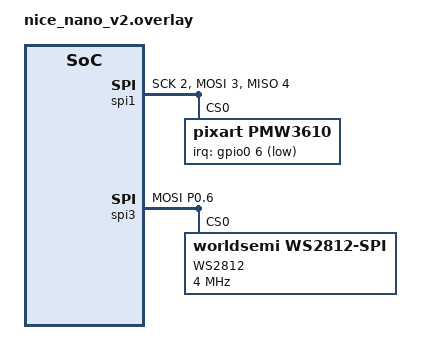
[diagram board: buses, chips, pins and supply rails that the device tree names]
#include <dt-bindings/led/led.h>

&pinctrl {
	spi3_default: spi3_default {
		group1 {
			psels = <NRF_PSEL(SPIM_MOSI, 0, 6)>;
		};
	};

	spi3_sleep: spi3_sleep {
		group1 {
			psels = <NRF_PSEL(SPIM_MOSI, 0, 6)>;
			low-power-enable;
		};
	};
};

&spi1 {
    compatible = "nordic,nrf-spim";
    status = "okay";
    sck-pin = <2>;
    mosi-pin = <3>;
    miso-pin = <4>;

    pmw3610: pmw3610@0 {
        compatible = "pixart,pmw3610";
        reg = <0>;               /* Chip Select */
        cs-gpios = <&gpio0 5 GPIO_ACTIVE_LOW>;
        irq-gpios = <&gpio0 6 GPIO_ACTIVE_LOW>;
        label = "PMW3610";
    };
};

&pinctrl {
    spi1_default: spi1_default {
        group1 {
            psels = <NRF_SPI1_SCK>, <NRF_SPI1_MOSI>, <NRF_SPI1_MISO>;
        };
    };
};

&spi3 {
	compatible = "nordic,nrf-spim";
	status = "okay";
	
	pinctrl-0 = <&spi3_default>;
	pinctrl-1 = <&spi3_sleep>;
	pinctrl-names = "default", "sleep";

	led_strip: ws2812@0 {
		compatible = "worldsemi,ws2812-spi";
		label = "WS2812";

		/* SPI */
		reg = <0>; /* ignored, but necessary for SPI bindings */
		spi-max-frequency = <4000000>;

		/* WS2812 */
		chain-length = <36>; /* arbitrary; change at will */
		spi-one-frame = <0x70>;
		spi-zero-frame = <0x40>;
		color-mapping = <LED_COLOR_ID_GREEN LED_COLOR_ID_RED LED_COLOR_ID_BLUE>;
	};
};

/ {
	chosen {
		zmk,underglow = &led_strip;
	};
};
